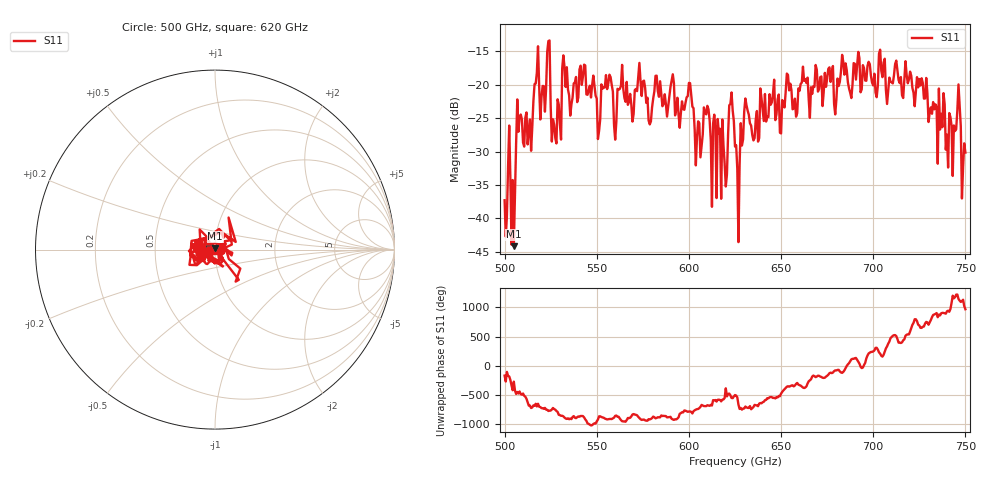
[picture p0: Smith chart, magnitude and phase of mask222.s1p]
!Created with skrf (http://scikit-rf.org).
# GHz S MA R 50.0
!freq magS11 angS11
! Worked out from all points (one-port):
!   401 points, 500 GHz to 750 GHz, reference 50 ohm
!   lowest |S11| = -44.1 dB at 505 GHz (marker M1), VSWR 1.01, Z = 50 + j0.62 ohm
!   |S11| at or under -10 dB: start of sweep to end of sweep
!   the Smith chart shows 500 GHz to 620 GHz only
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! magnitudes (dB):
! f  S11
! 500 GHz  -37.3
! 503.1 GHz  -34.0
! 505 GHz  -44.1
! 507.5 GHz  -27.0
! 513.8 GHz  -25.2
! 517.5 GHz  -18.2
! 520.6 GHz  -20.2
! 523.8 GHz  -13.5
! 526.9 GHz  -26.0
! 531.2 GHz  -17.5
! 542.5 GHz  -18.8
! 550.6 GHz  -28.1
! 562.5 GHz  -20.6
! 593.8 GHz  -21.9
! 600 GHz  -19.7
! 605 GHz  -25.5
! 609.4 GHz  -24.4
! 618.8 GHz  -29.1
! 623.1 GHz  -21.2
! 625 GHz  -29.3
! 626.2 GHz  -32.6
! 631.2 GHz  -23.1
! 656.2 GHz  -23.7
! 687.5 GHz  -21.2
! 718.8 GHz  -19.8
! 741.9 GHz  -24.8
! 746.2 GHz  -19.9
! 750 GHz  -30.1
